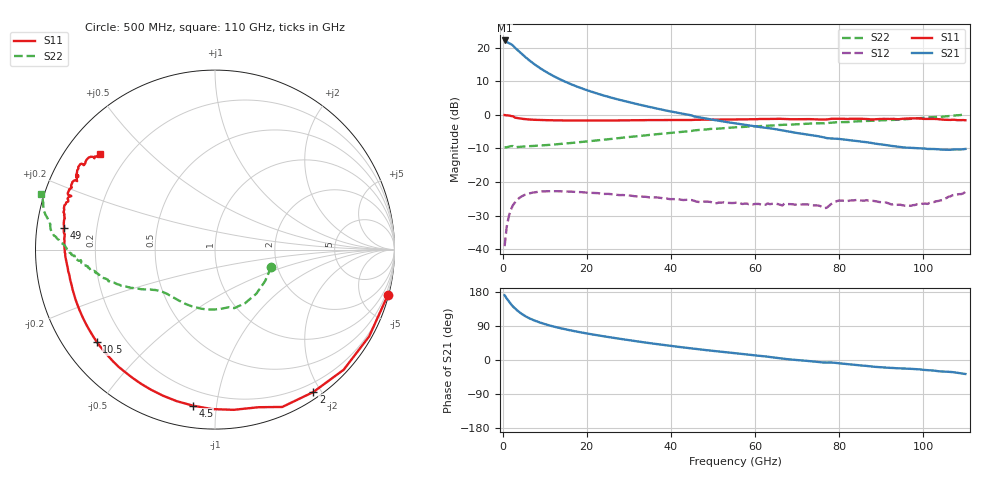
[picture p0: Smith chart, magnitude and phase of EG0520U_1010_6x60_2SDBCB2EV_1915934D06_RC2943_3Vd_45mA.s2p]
!File name = EG0520U_1010_6x60_2SDBCB2EV_1915934D06_RC2943_3Vd_45mA.s2p
!Base file name = EG0520U_1010_6x60_2SDBCB2EV_1915934D06_RC2943
!Date = 8/23/2019
!Time = 1:03 PM
!Test duration(min) = 0.15
!Test = S-Parameters
!MPTS version = 8.91.5
!State File = C:\Data\PNA\20190821205423\S-Parameters_2019-08-23.sta
!Cal File =
!ComputerName = CMPE-LAB-6
!Comments =
!Attenuation = 0
!Z0 = 50
!Input Power(dBm) = -13.00
!Device ID = EG0520U_1010_6x60_2SDBCB2EV
!Row = 29
!Column = 43
!Technology = QPHT09
!Lot/Wafer = 1915934D06
!Gate Size = 360
!Mask = EG0520
!Cal Standards = GaAs BCB
!Cal Kit = EG2306
!Job Number = 20190821205423
!Device Type = FET
!set_Vg(v) = -1.500
!set_Vd(v) = 3.000
!set_Vd(mA) = 45.000
!file_name = EG0520U_1010_6x60_2SDBCB2EV_1915934D06_RC2943_3Vd_45mA.s2p
!Vd(V) = 3.000
!Vd(mA) = 45.039
!Vg(V) = -0.469
!Vg(mA) = -0.001
# GHz  S  DB  R  50
!%	Freq(GHz)  s11(dB)  s11(deg)  s21(dB)  s21(deg)  s12(dB)  s12(deg)  s22(dB)  s22(deg)
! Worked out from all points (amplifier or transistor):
!   220 points, 500 MHz to 110 GHz, reference 50 ohm
!   highest |S21| = 22.2 dB at 500 MHz (marker M1)
!   |S21| within 3 dB of that: start of sweep to 3.69 GHz
!   unconditionally stable (mu >= 1): 32.57 GHz to 97.09 GHz
!   at 18.5 GHz: K = 0.55, MSG = 15.5 dB, |S12| = -23.0 dB
!   at 55.5 GHz: K = 1.57, MAG = 7.4 dB, |S12| = -26.2 dB
!   at 110 GHz: K = -1.05, MSG = 6.4 dB, |S12| = -23.0 dB
!   S11 on the Smith chart (normalised r, x): 500 MHz: 0.14, -7.67; 2 GHz: 0.08, -1.90; 4.5 GHz: 0.11, -0.86; 10.5 GHz: 0.10, -0.34; 49 GHz: 0.08, +0.07; 110 GHz: 0.10, +0.36
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0.5  -0.04 -14.9  22.21 171.0  -39.14 81.3  -9.69 -16.9
1  -0.12 -29.4  21.77 162.3  -33.38 73.5  -9.64 -32.3
2  -0.32 -55.4  21.13 147.5  -28.24 59.2  -9.31 -60.7
2.5  -0.41 -66.8  20.69 141.0  -26.87 53.4  -9.29 -71.7
3  -0.81 -74.6  19.99 135.9  -26.06 49.0  -9.63 -76.4
3.5  -0.93 -83.4  19.43 130.8  -25.32 44.6  -9.57 -84.6
4.5  -1.13 -98.1  18.29 122.2  -24.33 37.2  -9.46 -98.1
5.5  -1.27 -109.7  17.19 115.2  -23.73 31.5  -9.39 -108.2
6  -1.33 -114.6  16.66 112.2  -23.52 29.1  -9.34 -112.3
7  -1.42 -122.9  15.66 106.9  -23.21 25.0  -9.26 -119.0
8.5  -1.49 -132.4  14.32 100.4  -22.92 20.4  -9.16 -125.7
10.5  -1.56 -142.1  12.73 93.3  -22.76 15.4  -8.98 -132.6
14  -1.64 -153.5  10.43 83.3  -22.77 9.6  -8.62 -139.6
19  -1.68 -163.7  7.84 72.1  -23.05 4.6  -8.03 -145.2
26.5  -1.65 -172.8  4.92 58.3  -23.69 1.3  -7.05 -150.0
37  -1.52 178.9  1.81 41.4  -24.65 0.7  -5.71 -155.9
49  -1.42 171.9  -1.22 25.4  -25.89 2.9  -4.24 -163.3
55.5  -1.34 168.5  -2.54 17.7  -26.18 6.0  -3.68 -166.7
73.5  -1.28 160.0  -6.06 -3.6  -26.95 5.0  -2.52 -174.4
92  -1.21 151.5  -9.15 -20.7  -26.48 -9.1  -1.51 178.3
101  -1.22 147.3  -10.15 -26.7  -26.54 -3.9  -0.74 173.5
110  -1.59 140.1  -10.15 -36.9  -22.98 -14.9  0.13 162.2
